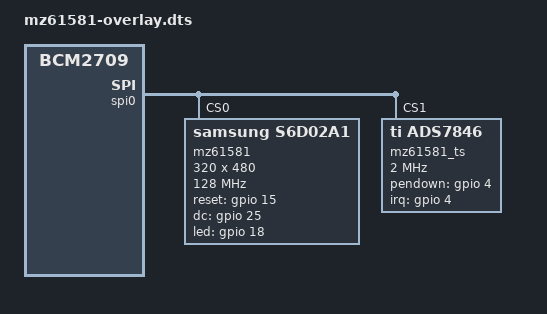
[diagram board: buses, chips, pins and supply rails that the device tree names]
/*
 * Device Tree overlay for MZ61581-PI-EXT 2014.12.28 by Tontec
 *
 */

/dts-v1/;
/plugin/;

/ {
	compatible = "brcm,bcm2835", "brcm,bcm2708", "brcm,bcm2709";

	fragment@0 {
		target = <&spi0>;
		__overlay__ {
			status = "okay";

			spidev@0{
				status = "disabled";
			};

			spidev@1{
				status = "disabled";
			};
		};
	};

	fragment@1 {
		target = <&gpio>;
		__overlay__ {
			mz61581_pins: mz61581_pins {
				brcm,pins = <4 15 18 25>;
				brcm,function = <0 1 1 1>; /* in out out out */
			};
		};
	};

	fragment@2 {
		target = <&spi0>;
		__overlay__ {
			/* needed to avoid dtc warning */
			#address-cells = <1>;
			#size-cells = <0>;

			mz61581: mz61581@0{
				compatible = "samsung,s6d02a1";
				reg = <0>;
				pinctrl-names = "default";
				pinctrl-0 = <&mz61581_pins>;

				spi-max-frequency = <128000000>;
				spi-cpol;
				spi-cpha;

				width = <320>;
				height = <480>;
				rotate = <270>;
				bgr;
				fps = <30>;
				buswidth = <8>;

				reset-gpios = <&gpio 15 0>;
				dc-gpios = <&gpio 25 0>;
				led-gpios = <&gpio 18 0>;

				init = <0x10000b0 00
					0x1000011
					0x20000ff
					0x10000b3 0x02 0x00 0x00 0x00
					0x10000c0 0x13 0x3b 0x00 0x02 0x00 0x01 0x00 0x43
					0x10000c1 0x08 0x16 0x08 0x08
					0x10000c4 0x11 0x07 0x03 0x03
					0x10000c6 0x00
					0x10000c8 0x03 0x03 0x13 0x5c 0x03 0x07 0x14 0x08 0x00 0x21 0x08 0x14 0x07 0x53 0x0c 0x13 0x03 0x03 0x21 0x00
					0x1000035 0x00
					0x1000036 0xa0
					0x100003a 0x55
					0x1000044 0x00 0x01
					0x10000d0 0x07 0x07 0x1d 0x03
					0x10000d1 0x03 0x30 0x10
					0x10000d2 0x03 0x14 0x04
					0x1000029
					0x100002c>;

				/* This is a workaround to make sure the init sequence slows down and doesn't fail */
				debug = <3>;
			};

			mz61581_ts: mz61581_ts@1 {
				compatible = "ti,ads7846";
				reg = <1>;

				spi-max-frequency = <2000000>;
				interrupts = <4 2>; /* high-to-low edge triggered */
				interrupt-parent = <&gpio>;
				pendown-gpio = <&gpio 4 0>;

				ti,x-plate-ohms = /bits/ 16 <60>;
				ti,pressure-max = /bits/ 16 <255>;
			};
		};
	};
	__overrides__ {
		speed =   <&mz61581>, "spi-max-frequency:0";
		rotate =  <&mz61581>, "rotate:0";
		fps =     <&mz61581>, "fps:0";
		debug =   <&mz61581>, "debug:0";
		xohms =   <&mz61581_ts>,"ti,x-plate-ohms;0";
	};
};
